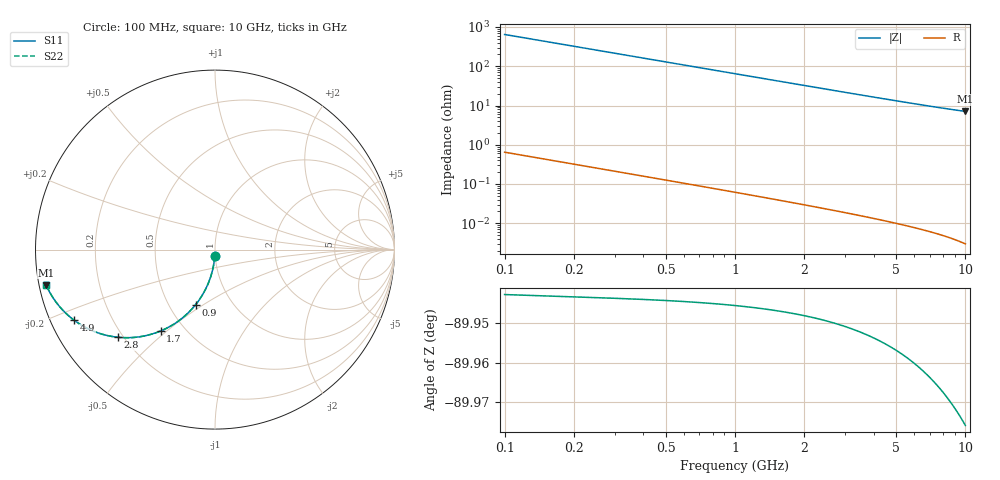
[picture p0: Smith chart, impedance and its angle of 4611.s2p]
# Hz S RI R 50.00
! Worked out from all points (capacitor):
!   100 points, 100 MHz to 10 GHz, reference 50 ohm
!   read as one part in shunt: C = 2.46 pF near 100 MHz
!   lowest |Z| = 7.07 ohm at 10 GHz (marker M1)
!   S11 on the Smith chart (normalised r, x): 100 MHz: 0.99, -0.08; 900 MHz: 0.68, -0.46; 1.7 GHz: 0.37, -0.48; 2.8 GHz: 0.18, -0.37; 4.9 GHz: 0.07, -0.24; 10 GHz: 0.02, -0.10
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1e8  -0.00138 -0.0383  0.9983 -0.039  0.9983 -0.039  -0.00138 -0.0383
2e8  -0.00588 -0.0762  0.9938 -0.0776  0.9938 -0.0776  -0.00588 -0.0762
3e8  -0.0133 -0.1135  0.9864 -0.1155  0.9864 -0.1155  -0.0133 -0.1135
4e8  -0.0234 -0.1498  0.9763 -0.1524  0.9763 -0.1524  -0.0234 -0.1498
5e8  -0.0361 -0.1847  0.9636 -0.1881  0.9636 -0.1881  -0.0361 -0.1847
6e8  -0.0512 -0.2182  0.9485 -0.2222  0.9485 -0.2222  -0.0512 -0.2182
7e8  -0.0684 -0.2499  0.9313 -0.2545  0.9313 -0.2545  -0.0684 -0.2499
9e8  -0.1083 -0.3074  0.8914 -0.3134  0.8914 -0.3134  -0.1083 -0.3074
1.1e9  -0.1535 -0.3565  0.8461 -0.3638  0.8461 -0.3638  -0.1535 -0.3565
1.3e9  -0.2022 -0.3969  0.7975 -0.4056  0.7975 -0.4056  -0.2022 -0.3969
1.7e9  -0.3024 -0.4532  0.6972 -0.4646  0.6972 -0.4646  -0.3024 -0.4532
1.8e9  -0.3271 -0.4627  0.6725 -0.4747  0.6725 -0.4747  -0.3271 -0.4627
2.3e9  -0.4428 -0.4885  0.5568 -0.5039  0.5568 -0.5039  -0.4428 -0.4885
2.8e9  -0.5412 -0.4884  0.4583 -0.5071  0.4583 -0.5071  -0.5412 -0.4884
3.4e9  -0.6355 -0.4693  0.3639 -0.4921  0.3639 -0.4921  -0.6355 -0.4693
4.1e9  -0.7179 -0.4355  0.2814 -0.4631  0.2814 -0.4631  -0.7179 -0.4355
4.9e9  -0.785 -0.3934  0.2141 -0.4265  0.2141 -0.4265  -0.785 -0.3934
5.1e9  -0.7984 -0.383  0.2006 -0.4175  0.2006 -0.4175  -0.7984 -0.383
5.8e9  -0.8374 -0.3482  0.1615 -0.3877  0.1615 -0.3877  -0.8374 -0.3482
6.7e9  -0.8737 -0.3078  0.1249 -0.3538  0.1249 -0.3538  -0.8737 -0.3078
8.4e9  -0.9169 -0.2446  0.081 -0.3031  0.081 -0.3031  -0.9169 -0.2446
1e10  -0.9406 -0.1975  0.0565 -0.2684  0.0565 -0.2684  -0.9406 -0.1975
